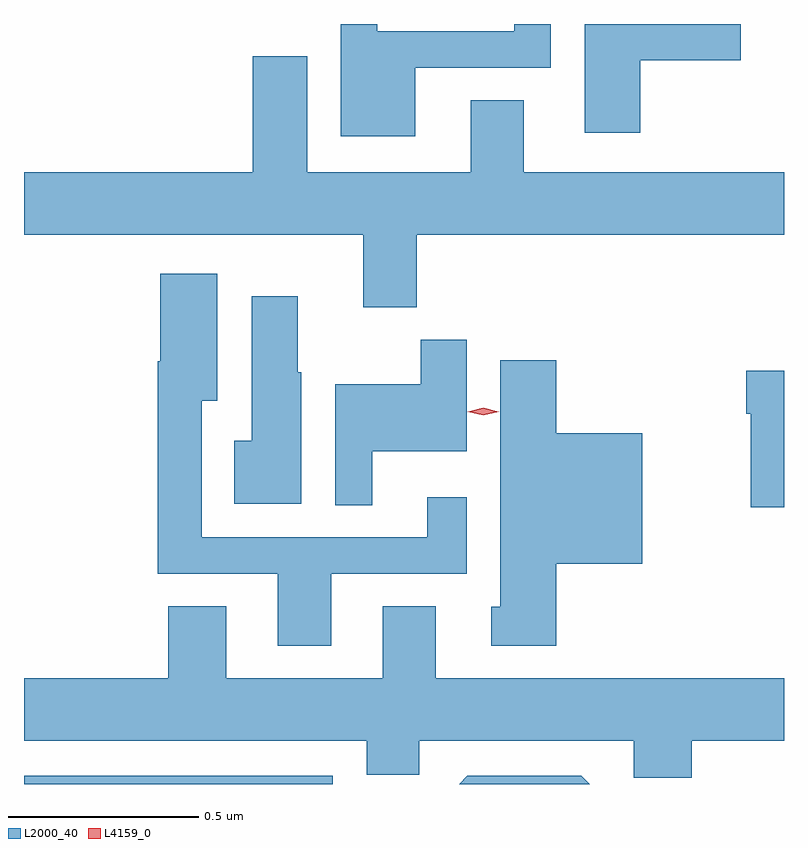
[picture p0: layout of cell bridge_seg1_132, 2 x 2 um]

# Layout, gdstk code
import gdstk
lib = gdstk.Library(unit=1e-6, precision=1e-09)
def R(c, l, rs):  # rectangles x0, y0, x1, y1
    for r in rs: c.add(gdstk.rectangle(r[:2], r[2:], *l))
def P(c, l, *ps):  # polygons
    for p in ps: c.add(gdstk.Polygon(p, *l))
L2000_40 = (2000, 40)
L4159_0 = (4159, 0)

bridge_seg1_132 = lib.new_cell('bridge_seg1_132')
R(bridge_seg1_132, L2000_40, [(425.391,576.926,426.204,576.948)])
P(bridge_seg1_132, L2000_40, [(426.421,578.811),(426.777,578.811),(426.777,578.926),(426.681,578.926),(426.681,578.907),(426.321,578.907),(426.321,578.926),(426.225,578.926),(426.225,578.63),(426.421,578.63)],
  [(427.013,578.83),(427.277,578.83),(427.277,578.926),(426.866,578.926),(426.866,578.64),(427.013,578.64)],
  [(426.425,578.372),(427.391,578.372),(427.391,578.536),(426.706,578.536),(426.706,578.726),(426.566,578.726),(426.566,578.536),(426.136,578.536),(426.136,578.841),(425.993,578.841),(425.993,578.536),(425.391,578.536),(425.391,578.372),(426.284,578.372),(426.284,578.18),(426.425,578.18)],
  [(426.199,577.479),(426.556,577.479),(426.556,577.681),(426.452,577.681),(426.452,577.575),(425.859,577.575),(425.859,577.934),(425.899,577.934),(425.899,578.269),(425.75,578.269),(425.75,578.038),(425.743,578.038),(425.743,577.479),(426.059,577.479),(426.059,577.29),(426.199,577.29)],
  [(426.121,578.01),(426.112,578.01),(426.112,578.209),(425.99,578.209),(425.99,577.829),(425.944,577.829),(425.944,577.664),(426.121,577.664)],
  [(426.307,577.802),(426.556,577.802),(426.556,578.095),(426.435,578.095),(426.435,577.978),(426.21,577.978),(426.21,577.66),(426.307,577.66)],
  [(426.791,577.505),(427.018,577.505),(427.018,577.849),(426.791,577.849),(426.791,578.041),(426.644,578.041),(426.644,577.392),(426.62,577.392),(426.62,577.29),(426.791,577.29)],
  [(427.391,578.014),(427.292,578.014),(427.292,577.901),(427.304,577.901),(427.304,577.654),(427.391,577.654)],
  [(427.148,577.04),(427.391,577.04),(427.391,577.204),(426.475,577.204),(426.475,577.394),(426.335,577.394),(426.335,577.204),(425.923,577.204),(425.923,577.394),(425.771,577.394),(425.771,577.204),(425.391,577.204),(425.391,577.04),(426.293,577.04),(426.293,576.95),(426.431,576.95),(426.431,577.04),(426.996,577.04),(426.996,576.942),(427.148,576.942)],
  [(426.858,576.948),(426.558,576.948),(426.536,576.926),(426.88,576.926)])
P(bridge_seg1_132, L4159_0, [(426.6,577.896),(426.559,577.906),(426.559,577.906),(426.559,577.906),(426.6,577.916),(426.64,577.905),(426.64,577.905),(426.64,577.905)])

lib.write_gds('bridge_seg1_132.gds')
